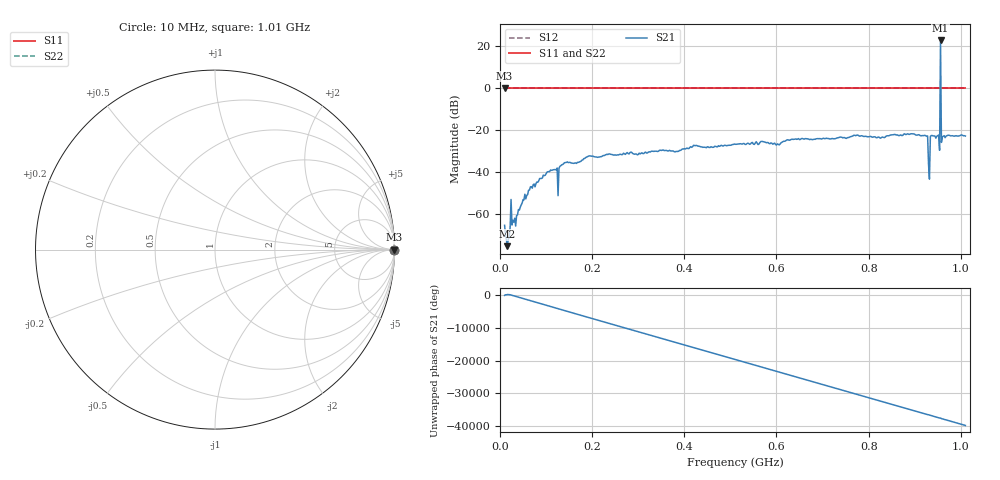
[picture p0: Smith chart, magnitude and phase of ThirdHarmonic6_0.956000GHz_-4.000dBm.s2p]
! 8/16/2025 7:00:01 AM
! C:\ANRITSUVNA\TEMP\TEMP.S2P
! CHANNEL.1
! TR.MEASUREMENT
! RAW.DATA
! RF.CORRECTION.OFF
! AVERAGING.OFF
! IF.BANDWIDTH: 5KHZ
! SWEEPTYPE:  FREQ.SWEEP(Linear)
! Reference Plane Port Info
! PORT:  PORT1  PORT2
! DISTANCE:  0  m  0  m
! TIME:  0  s  0  s
! PHASE.OFFSET:  0  deg.  0  deg.
! LOSS:  0  dB  0  dB
! REF.LOSS:  0  dB  0  dB
! REF.FREQ:  0  Hz  0  Hz
! Power Info
! POWER:  -20  dBm  -20  dBm
! EFF.POWER:  -20  dBm  -20  dBm
! SOURCE.ATTEN:  0  dB  0  dB
! TEST.ATTEN:  0  dB  0  dB
# GHZ S RI R 50.0
! FREQ.GHZ  S11RE  S11IM  S21RE  S21IM  S12RE  S12IM  S22RE  S22IM
!; PortSelection: Port_12
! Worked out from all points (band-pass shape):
!   501 points, 10 MHz to 1.01 GHz, reference 50 ohm
!   highest |S21| = 22.63 dB at 956 MHz (marker M1); lowest = -75.1 dB at 16 MHz (marker M2)
!   |S21| within 3 dB of the highest: 955.8851 MHz to 956.1239 MHz (238.8 kHz wide, 0.025 % of centre)
!   lowest |S11| = 0.0 dB at 10 MHz (marker M3)
!   |S11| at or under -10 dB: nowhere
!   |S22| runs from 0.0 to 0.0 dB; largest |S21 - S12| = 13
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0.01  1 0  -0.000214 -0.000505  1 0  1 0
0.016  1 0  -0.000118 0.00013  1 0  1 0
0.026  1 0  -0.000196 -0.000521  1 0  1 0
0.03  1 0  0.000119 0.000644  1 0  1 0
0.07  1 0  -0.00138 -0.00395  1 0  1 0
0.124  1 0  -0.0104 -0.0072  1 0  1 0
0.142  1 0  -0.0155 -0.00689  1 0  1 0
0.178  1 0  -0.0188 -0.00504  1 0  1 0
0.344  1 0  0.0314 -0.00407  1 0  1 0
0.51  1 0  -0.0451 0.012  1 0  1 0
0.678  1 0  -0.0205 -0.0558  1 0  1 0
0.844  1 0  0.0456 0.0578  1 0  1 0
0.924  1 0  0.0351 0.0646  1 0  1 0
0.93  1 0  -0.013 -0.00877  1 0  1 0
0.934  1 0  0.0661 0.0269  1 0  1 0
0.938  1 0  -0.0578 -0.0471  1 0  1 0
0.95  1 0  -0.013 0.0729  1 0  1 0
0.952  1 0  0.0714 0.0281  1 0  1 0
0.956  1 0  4.772 -12.66  1 0  1 0
0.96  1 0  0.0401 0.0565  1 0  1 0
0.962  1 0  0.0656 -0.0287  1 0  1 0
1.01  1 0  -0.0676 -0.026  1 0  1 0
